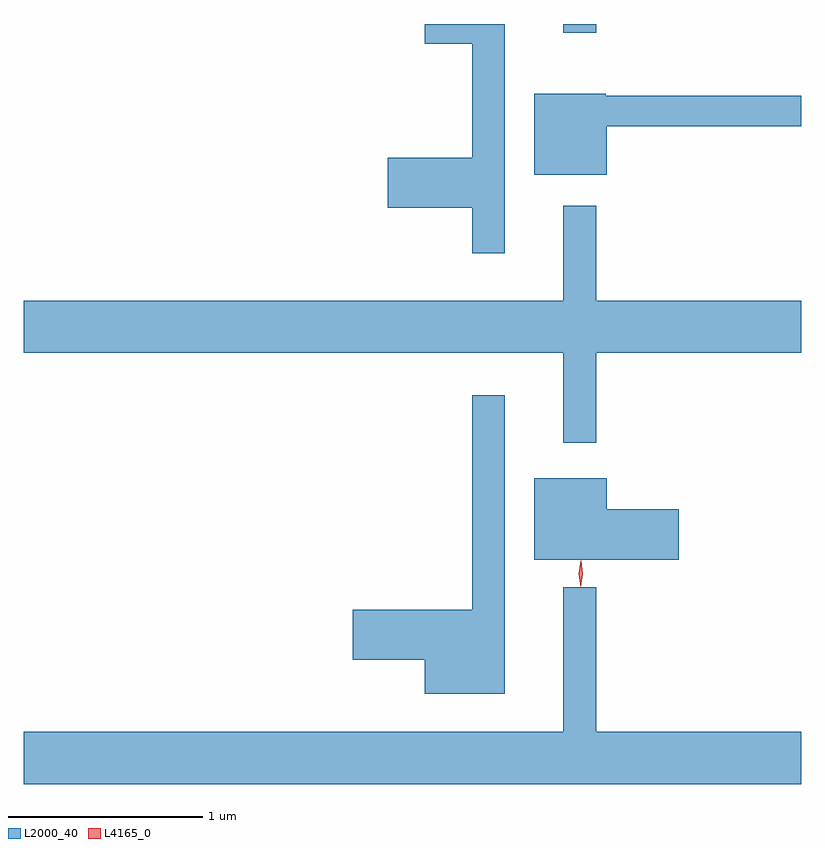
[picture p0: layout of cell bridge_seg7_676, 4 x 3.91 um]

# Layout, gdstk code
import gdstk
lib = gdstk.Library(unit=1e-6, precision=1e-09)
def R(c, l, rs):  # rectangles x0, y0, x1, y1
    for r in rs: c.add(gdstk.rectangle(r[:2], r[2:], *l))
def P(c, l, *ps):  # polygons
    for p in ps: c.add(gdstk.Polygon(p, *l))
L2000_40 = (2000, 40)
L4165_0 = (4165, 0)

bridge_seg7_676 = lib.new_cell('bridge_seg7_676')
R(bridge_seg7_676, L2000_40, [(1017.431,1718.183,1017.599,1718.228)])
P(bridge_seg7_676, L2000_40, [(1017.129,1718.228),(1016.716,1718.228),(1016.716,1718.126),(1016.961,1718.126),(1016.961,1717.539),(1016.526,1717.539),(1016.526,1717.281),(1016.961,1717.281),(1016.961,1717.048),(1017.129,1717.048)],
  [(1017.654,1717.701),(1018.654,1717.701),(1018.654,1717.859),(1017.65,1717.859),(1017.65,1717.869),(1017.281,1717.869),(1017.281,1717.451),(1017.654,1717.451)],
  [(1017.599,1716.536),(1018.654,1716.536),(1018.654,1716.804),(1017.599,1716.804),(1017.599,1717.293),(1017.431,1717.293),(1017.431,1716.804),(1014.654,1716.804),(1014.654,1716.536),(1017.431,1716.536),(1017.431,1716.073),(1017.599,1716.073)],
  [(1017.129,1716.318),(1016.961,1716.318),(1016.961,1715.214),(1016.346,1715.214),(1016.346,1714.956),(1016.716,1714.956),(1016.716,1714.781),(1017.129,1714.781)],
  [(1018.024,1715.729),(1017.654,1715.729),(1017.654,1715.889),(1017.281,1715.889),(1017.281,1715.471),(1018.024,1715.471)],
  [(1018.654,1714.584),(1017.599,1714.584),(1017.599,1715.328),(1017.431,1715.328),(1017.431,1714.584),(1014.654,1714.584),(1014.654,1714.316),(1018.654,1714.316)])
P(bridge_seg7_676, L4165_0, [(1017.519,1715.33),(1017.511,1715.398),(1017.521,1715.465),(1017.522,1715.466),(1017.522,1715.465),(1017.53,1715.398),(1017.52,1715.33),(1017.52,1715.33)],
  [(1017.52,1715.333),(1017.512,1715.396),(1017.522,1715.459),(1017.522,1715.46),(1017.523,1715.459),(1017.531,1715.396),(1017.521,1715.333),(1017.521,1715.333)])

lib.write_gds('bridge_seg7_676.gds')
